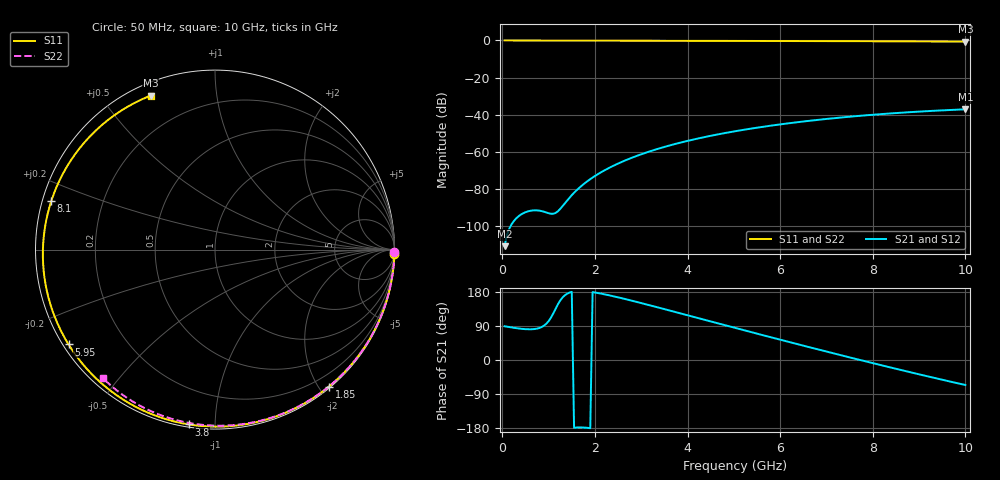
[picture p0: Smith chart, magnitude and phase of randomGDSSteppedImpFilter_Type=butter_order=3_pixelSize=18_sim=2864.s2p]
! freq	dB(S11)	phase(S11)	dB(S12)	phase(S12)
!  dB(S21)	phase(S21)	dB(S22)	phase(S22)
!S-par simulation data
#  GHz  S  DB  R 50
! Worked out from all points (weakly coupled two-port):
!   200 points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, 50 MHz to 10 GHz, reference 50 ohm
!   highest |S21| = -37.15 dB at 10 GHz (marker M1); lowest = -111.0 dB at 50 MHz (marker M2)
!   lowest |S11| = -0.6 dB at 10 GHz (marker M3), VSWR 27.53, Z = 2.62 + j33.3 ohm
!   |S11| at or under -10 dB: nowhere
!   |S22| runs from -0.4 to 0.0 dB; largest |S21 - S12| = 0
!   S11 on the Smith chart (normalised r, x): 50 MHz: 0, -82; 1.85 GHz: 0.02, -2.13; 3.8 GHz: 0.01, -0.86; 5.95 GHz: 0.02, -0.30; 8.1 GHz: 0.03, +0.14; 10 GHz: 0.05, +0.67
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0.05  -0.00 -1.4  -110.96 89.0  -110.96 89.0  -0.00 -0.8
0.4  -0.02 -11.1  -93.95 82.5  -93.95 82.5  -0.01 -6.0
0.8  -0.03 -22.1  -91.80 84.4  -91.80 84.4  -0.02 -12.0
1.6  -0.06 -43.6  -80.90 -178.2  -80.90 -178.2  -0.03 -23.9
1.65  -0.06 -45.0  -79.74 -177.8  -79.74 -177.8  -0.03 -24.7
1.75  -0.06 -47.6  -77.61 -178.1  -77.61 -178.1  -0.03 -26.1
1.85  -0.06 -50.2  -75.69 -179.2  -75.69 -179.2  -0.04 -27.6
2.15  -0.07 -58.0  -70.85 174.8  -70.85 174.8  -0.04 -32.0
2.5  -0.08 -66.9  -66.40 165.4  -66.40 165.4  -0.05 -37.0
2.9  -0.10 -76.9  -62.30 153.3  -62.30 153.3  -0.06 -42.7
3.4  -0.12 -89.0  -58.16 137.5  -58.16 137.5  -0.07 -49.7
3.8  -0.13 -98.5  -55.40 124.6  -55.40 124.6  -0.08 -55.3
4.4  -0.16 -112.4  -51.94 105.1  -51.94 105.1  -0.09 -63.4
5.05  -0.19 -127.1  -48.86 84.0  -48.86 84.0  -0.11 -72.0
5.95  -0.25 -147.1  -45.44 55.2  -45.44 55.2  -0.14 -83.5
6.7  -0.30 -163.8  -43.14 31.6  -43.14 31.6  -0.18 -92.8
7.4  -0.36 -179.8  -41.36 10.0  -41.36 10.0  -0.22 -101.2
8.1  -0.43 163.5  -39.88 -11.3  -39.88 -11.3  -0.27 -109.4
8.35  -0.46 157.3  -39.42 -18.7  -39.42 -18.7  -0.29 -112.3
9.15  -0.54 136.6  -38.16 -42.1  -38.16 -42.1  -0.36 -121.5
9.6  -0.59 124.2  -37.59 -54.9  -37.59 -54.9  -0.40 -126.6
10  -0.63 112.6  -37.15 -66.0  -37.15 -66.0  -0.44 -131.1
